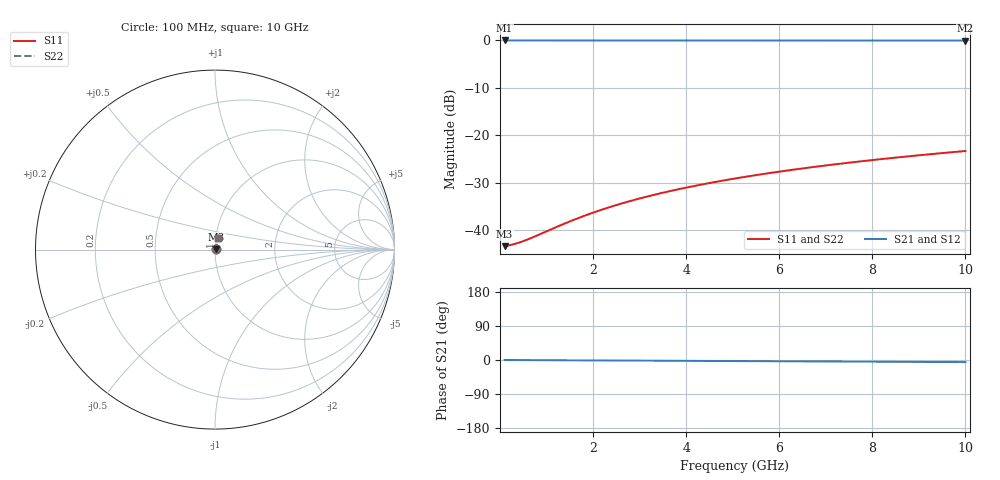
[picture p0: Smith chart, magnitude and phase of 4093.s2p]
# Hz S RI R 50.00
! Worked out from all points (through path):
!   100 points, 100 MHz to 10 GHz, reference 50 ohm
!   highest |S21| = -0.06 dB at 100 MHz (marker M1); lowest = -0.1 dB at 10 GHz (marker M2)
!   lowest |S11| = -43.4 dB at 100 MHz (marker M3), VSWR 1.01, Z = 50.7 + j0.0681 ohm
!   |S11| at or under -10 dB: start of sweep to end of sweep
!   |S22| runs from -43.4 to -23.3 dB; largest |S21 - S12| = 0
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1e8  0.00676 0.000672  0.9932 -0.000967  0.9932 -0.000967  0.00676 0.000672
2e8  0.00681 0.00134  0.9932 -0.00193  0.9932 -0.00193  0.00681 0.00134
3e8  0.00684 0.00202  0.9932 -0.0029  0.9932 -0.0029  0.00684 0.00202
4e8  0.00687 0.00269  0.9931 -0.00387  0.9931 -0.00387  0.00687 0.00269
5e8  0.0069 0.00336  0.9931 -0.00483  0.9931 -0.00483  0.0069 0.00336
7e8  0.00696 0.0047  0.993 -0.00677  0.993 -0.00677  0.00696 0.0047
1.4e9  0.00714 0.0094  0.9928 -0.0135  0.9928 -0.0135  0.00714 0.0094
1.8e9  0.00726 0.0121  0.9927 -0.0174  0.9927 -0.0174  0.00726 0.0121
2.2e9  0.0074 0.0148  0.9926 -0.0213  0.9926 -0.0213  0.0074 0.0148
2.6e9  0.00756 0.0175  0.9924 -0.0251  0.9924 -0.0251  0.00756 0.0175
3e9  0.00773 0.0201  0.9922 -0.029  0.9922 -0.029  0.00773 0.0201
3.4e9  0.00792 0.0228  0.992 -0.0328  0.992 -0.0328  0.00792 0.0228
3.8e9  0.00813 0.0255  0.9918 -0.0367  0.9918 -0.0367  0.00813 0.0255
4.2e9  0.00836 0.0282  0.9915 -0.0406  0.9915 -0.0406  0.00836 0.0282
4.6e9  0.00861 0.0308  0.9913 -0.0444  0.9913 -0.0444  0.00861 0.0308
5.1e9  0.00895 0.0342  0.9909 -0.0492  0.9909 -0.0492  0.00895 0.0342
5.9e9  0.00956 0.0395  0.9903 -0.0569  0.9903 -0.0569  0.00956 0.0395
6.7e9  0.0103 0.0449  0.9895 -0.0646  0.9895 -0.0646  0.0103 0.0449
7.5e9  0.011 0.0502  0.9887 -0.0723  0.9887 -0.0723  0.011 0.0502
8.4e9  0.012 0.0561  0.9877 -0.081  0.9877 -0.081  0.012 0.0561
9.2e9  0.013 0.0614  0.9867 -0.0886  0.9867 -0.0886  0.013 0.0614
1e10  0.014 0.0667  0.9855 -0.0963  0.9855 -0.0963  0.014 0.0667
